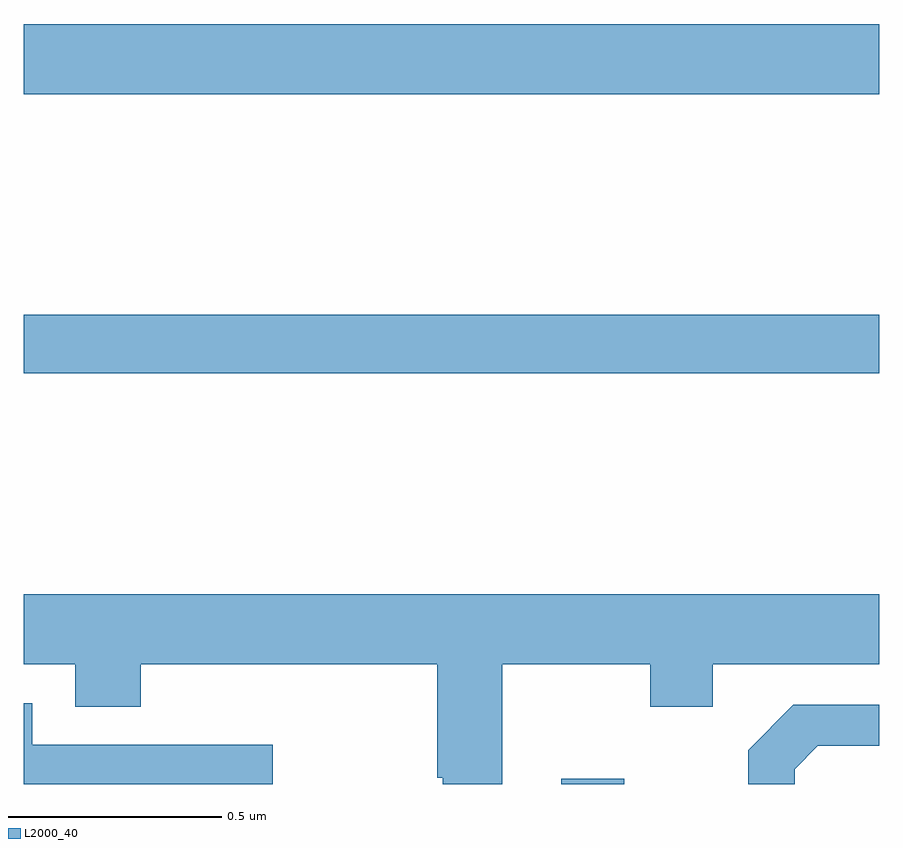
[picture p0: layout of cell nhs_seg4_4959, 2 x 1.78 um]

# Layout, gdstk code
import gdstk
lib = gdstk.Library(unit=1e-6, precision=1e-09)
def R(c, l, rs):  # rectangles x0, y0, x1, y1
    for r in rs: c.add(gdstk.rectangle(r[:2], r[2:], *l))
def P(c, l, *ps):  # polygons
    for p in ps: c.add(gdstk.Polygon(p, *l))
L2000_40 = (2000, 40)

nhs_seg4_4959 = lib.new_cell('nhs_seg4_4959')
R(nhs_seg4_4959, L2000_40, [(173.256,769.9,173.404,769.912), (172,770.86,174,770.996), (172,771.512,174,771.676)])
P(nhs_seg4_4959, L2000_40, [(173.119,770.18),(173.464,770.18),(173.464,770.081),(173.611,770.081),(173.611,770.18),(174,770.18),(174,770.344),(172,770.344),(172,770.18),(172.121,770.18),(172.121,770.081),(172.274,770.081),(172.274,770.18),(172.967,770.18),(172.967,769.915),(172.979,769.915),(172.979,769.9),(173.119,769.9)],
  [(172.582,769.992),(172.02,769.992),(172.02,770.089),(172,770.089),(172,769.9),(172.582,769.9)],
  [(173.802,769.935),(173.856,769.989),(174,769.989),(174,770.085),(173.799,770.085),(173.694,769.979),(173.694,769.9),(173.802,769.9)])

lib.write_gds('nhs_seg4_4959.gds')
